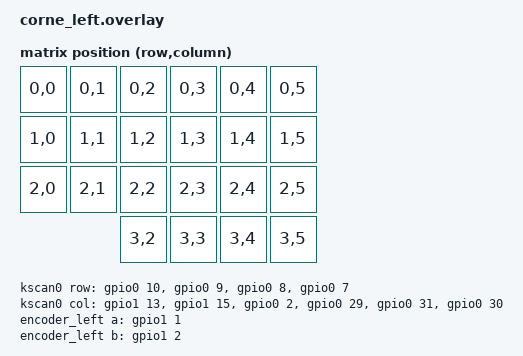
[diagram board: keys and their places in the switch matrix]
/*
 * Copyright (c) 2020 The ZMK Contributors
 *
 * SPDX-License-Identifier: MIT
 */

#include <dt-bindings/zmk/matrix_transform.h>

/ {
    chosen {
        zmk,kscan = &kscan0;
        zmk,matrix_transform = &default_transform;
        zmk,encoder = &encoder_left;
    };

    default_transform: keymap_transform_0 {
        compatible = "zmk,matrix-transform";
        rows = <4>;
        columns = <6>;
        map = <
            RC(0,0) RC(0,1) RC(0,2) RC(0,3) RC(0,4) RC(0,5)
            RC(1,0) RC(1,1) RC(1,2) RC(1,3) RC(1,4) RC(1,5)
            RC(2,0) RC(2,1) RC(2,2) RC(2,3) RC(2,4) RC(2,5)
                            RC(3,2) RC(3,3) RC(3,4) RC(3,5)
        >;
    };

    kscan0: kscan {
        compatible = "zmk,kscan-gpio-matrix";
        label = "KSCAN";
        diode-direction = "col2row";
        row-gpios
            = <&gpio0 10 (GPIO_ACTIVE_HIGH | GPIO_PULL_DOWN)> // Row 0
            , <&gpio0 9 (GPIO_ACTIVE_HIGH | GPIO_PULL_DOWN)>  // Row 1
            , <&gpio0 8 (GPIO_ACTIVE_HIGH | GPIO_PULL_DOWN)>  // Row 2
            , <&gpio0 7 (GPIO_ACTIVE_HIGH | GPIO_PULL_DOWN)>  // Row 3 (Thumb)
            ;
        col-gpios
            = <&gpio1 13 GPIO_ACTIVE_HIGH> // Col 0
            , <&gpio1 15 GPIO_ACTIVE_HIGH> // Col 1
            , <&gpio0 2 GPIO_ACTIVE_HIGH>  // Col 2
            , <&gpio0 29 GPIO_ACTIVE_HIGH> // Col 3
            , <&gpio0 31 GPIO_ACTIVE_HIGH> // Col 4
            , <&gpio0 30 GPIO_ACTIVE_HIGH> // Col 5
            ;
    };

    encoder_left: encoder_left {
        compatible = "alps,ec11";
        label = "LEFT_ENCODER";
        a-gpios = <&gpio1  1 (GPIO_ACTIVE_HIGH | GPIO_PULL_UP)>; // Пин A левого энкодера
        b-gpios = <&gpio1  2 (GPIO_ACTIVE_HIGH | GPIO_PULL_UP)>; // Пин B левого энкодера
        steps = <24>;
        status = "okay";
    };
};
